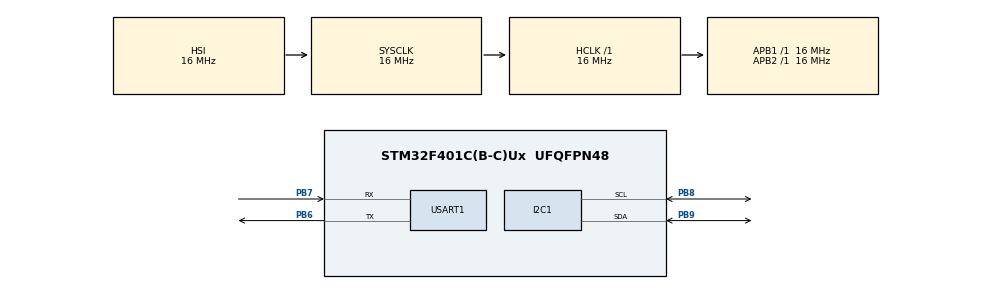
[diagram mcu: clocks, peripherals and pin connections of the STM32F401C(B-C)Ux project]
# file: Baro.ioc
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FREERTOS.Mutexes01=mutex,Dynamic,NULL
FREERTOS.Tasks01=OutputTask,24,128,Output,Default,NULL,Dynamic,NULL,NULL;InputTask,24,128,Input,Default,NULL,Dynamic,NULL,NULL
FREERTOS.configUSE_NEWLIB_REENTRANT=1
Mcu.Family=STM32F4
Mcu.Name=STM32F401C(B-C)Ux
Mcu.Package=UFQFPN48
NVIC.PriorityGroup=NVIC_PRIORITYGROUP_4
PA13.Mode=Serial_Wire
PA13.Signal=SYS_JTMS-SWDIO
PA14.Mode=Serial_Wire
PA14.Signal=SYS_JTCK-SWCLK
PB6.Mode=Asynchronous
PB6.Signal=USART1_TX
PB7.Mode=Asynchronous
PB7.Signal=USART1_RX
PB8.Mode=I2C
PB8.Signal=I2C1_SCL
PB9.Mode=I2C
PB9.Signal=I2C1_SDA
ProjectManager.HeapSize=0x200
ProjectManager.StackSize=0x400
ProjectManager.TargetToolchain=STM32CubeIDE
RCC.AHBFreq_Value=16000000
RCC.APB1Freq_Value=16000000
RCC.APB2Freq_Value=16000000
RCC.CortexFreq_Value=16000000
RCC.HSE_VALUE=25000000
RCC.HSI_VALUE=16000000
RCC.LSE_VALUE=32768
RCC.SYSCLKFreq_VALUE=16000000
RCC.VCOOutputFreq_Value=192000000
USART1.VirtualMode=VM_ASYNC
VP_FREERTOS_VS_CMSIS_V2.Mode=CMSIS_V2
board=custom

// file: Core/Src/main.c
/* USER CODE BEGIN Header */
/**
  ******************************************************************************
  * @file           : main.c
  * @brief          : Main program body
  ******************************************************************************
  * @attention
  *
  * Copyright (c) 2022 STMicroelectronics.
  * All rights reserved.
  *
  * This software is licensed under terms that can be found in the LICENSE file
  * in the root directory of this software component.
  * If no LICENSE file comes with this software, it is provided AS-IS.
  *
  ******************************************************************************
  */
/* USER CODE END Header */
#include "main.h"
#include "cmsis_os.h"

/* USER CODE BEGIN Includes */
#include <stdio.h>
#include <stdlib.h>
#include "baro.h"

/* USER CODE END Includes */

/* USER CODE BEGIN PD */
#define BUFFER_MAX_SIZE 10
/* USER CODE END PD */

/* USER CODE BEGIN PM */
#define countof(a) (sizeof(a)/sizeof(a[0]))
/* USER CODE END PM */

I2C_HandleTypeDef hi2c1;

UART_HandleTypeDef huart1;

/* Definitions for OutputTask */
osThreadId_t OutputTaskHandle;
const osThreadAttr_t OutputTask_attributes = {
  .name = "OutputTask",
  .stack_size = 128 * 4,
  .priority = (osPriority_t) osPriorityNormal,
};
/* Definitions for InputTask */
osThreadId_t InputTaskHandle;
const osThreadAttr_t InputTask_attributes = {
  .name = "InputTask",
  .stack_size = 128 * 4,
  .priority = (osPriority_t) osPriorityNormal,
};
/* Definitions for mutex */
osMutexId_t mutexHandle;
const osMutexAttr_t mutex_attributes = {
  .name = "mutex"
};
/* USER CODE BEGIN PV */

typedef struct
{
    uint32_t tempreture;
    uint32_t pressure;
    struct queue *next;
} queue;

queue *start = NULL, *end = NULL;
int32_t counter = 0;

/* USER CODE END PV */

void SystemClock_Config(void);
static void MX_GPIO_Init(void);
static void MX_I2C1_Init(void);
static void MX_USART1_UART_Init(void);
void Output(void *argument);
void Input(void *argument);

int main(void)
{

  /* MCU Configuration--------------------------------------------------------*/

  /* Reset of all peripherals, Initializes the Flash interface and the Systick. */
  HAL_Init();

  /* Configure the system clock */
  SystemClock_Config();

  /* Initialize all configured peripherals */
  MX_GPIO_Init();
  MX_I2C1_Init();
  MX_USART1_UART_Init();
  /* USER CODE BEGIN 2 */

  if (baro_init() != BARO_OK) {
      while (1) {
    	  HAL_UART_Transmit(&huart1, (uint8_t*)"Error you need to  initialize a baro\n", 16, 1000);
    	  HAL_Delay(3000);
      }
  }

  /* USER CODE END 2 */

  /* Init scheduler */
  osKernelInitialize();
  /* Create the mutex(es) */
  /* creation of mutex */
  mutexHandle = osMutexNew(&mutex_attributes);

  /* Create the thread(s) */
  /* creation of OutputTask */
  OutputTaskHandle = osThreadNew(Output, NULL, &OutputTask_attributes);

  /* creation of InputTask */
  InputTaskHandle = osThreadNew(Input, NULL, &InputTask_attributes);

  /* Start scheduler */
  osKernelStart();

  /* We should never get here as control is now taken by the scheduler */
  /* Infinite loop */
  while (1)
    {

    }
}

void SystemClock_Config(void)
{
  RCC_OscInitTypeDef RCC_OscInitStruct = {0};
  RCC_ClkInitTypeDef RCC_ClkInitStruct = {0};

  /** Configure the main internal regulator output voltage
  */
  __HAL_RCC_PWR_CLK_ENABLE();
  __HAL_PWR_VOLTAGESCALING_CONFIG(PWR_REGULATOR_VOLTAGE_SCALE2);

  /** Initializes the RCC Oscillators according to the specified parameters
  * in the RCC_OscInitTypeDef structure.
  */
  RCC_OscInitStruct.OscillatorType = RCC_OSCILLATORTYPE_HSI;
  RCC_OscInitStruct.HSIState = RCC_HSI_ON;
  RCC_OscInitStruct.HSICalibrationValue = RCC_HSICALIBRATION_DEFAULT;
  RCC_OscInitStruct.PLL.PLLState = RCC_PLL_NONE;
  if (HAL_RCC_OscConfig(&RCC_OscInitStruct) != HAL_OK)
  {
    Error_Handler();
  }

  /** Initializes the CPU, AHB and APB buses clocks
  */
  RCC_ClkInitStruct.ClockType = RCC_CLOCKTYPE_HCLK|RCC_CLOCKTYPE_SYSCLK
                              |RCC_CLOCKTYPE_PCLK1|RCC_CLOCKTYPE_PCLK2;
  RCC_ClkInitStruct.SYSCLKSource = RCC_SYSCLKSOURCE_HSI;
  RCC_ClkInitStruct.AHBCLKDivider = RCC_SYSCLK_DIV1;
  RCC_ClkInitStruct.APB1CLKDivider = RCC_HCLK_DIV1;
  RCC_ClkInitStruct.APB2CLKDivider = RCC_HCLK_DIV1;

  if (HAL_RCC_ClockConfig(&RCC_ClkInitStruct, FLASH_LATENCY_0) != HAL_OK)
  {
    Error_Handler();
  }
}

static void MX_I2C1_Init(void)
{

  hi2c1.Instance = I2C1;
  hi2c1.Init.ClockSpeed = 100000;
  hi2c1.Init.DutyCycle = I2C_DUTYCYCLE_2;
  hi2c1.Init.OwnAddress1 = 0;
  hi2c1.Init.AddressingMode = I2C_ADDRESSINGMODE_7BIT;
  hi2c1.Init.DualAddressMode = I2C_DUALADDRESS_DISABLE;
  hi2c1.Init.OwnAddress2 = 0;
  hi2c1.Init.GeneralCallMode = I2C_GENERALCALL_DISABLE;
  hi2c1.Init.NoStretchMode = I2C_NOSTRETCH_DISABLE;
  if (HAL_I2C_Init(&hi2c1) != HAL_OK)
  {
    Error_Handler();
  }

}

static void MX_USART1_UART_Init(void)
{

  huart1.Instance = USART1;
  huart1.Init.BaudRate = 115200;
  huart1.Init.WordLength = UART_WORDLENGTH_8B;
  huart1.Init.StopBits = UART_STOPBITS_1;
  huart1.Init.Parity = UART_PARITY_NONE;
  huart1.Init.Mode = UART_MODE_TX_RX;
  huart1.Init.HwFlowCtl = UART_HWCONTROL_NONE;
  huart1.Init.OverSampling = UART_OVERSAMPLING_16;
  if (HAL_UART_Init(&huart1) != HAL_OK)
  {
    Error_Handler();
  }

}

static void MX_GPIO_Init(void)
{

  /* GPIO Ports Clock Enable */
  __HAL_RCC_GPIOA_CLK_ENABLE();
  __HAL_RCC_GPIOB_CLK_ENABLE();

}

/* USER CODE BEGIN 4 */

void AddToQueue()
{
    if (counter < BUFFER_MAX_SIZE)
    {
        queue *buf = end;
        end = (end == NULL)  ?  (start = (queue *)malloc(sizeof(queue)))  :  (queue *)(end->next = (struct queue *)malloc(sizeof(queue)));
        if (end)
            counter++;
        else
            end = buf;
    }
}

void DeleteFromQueue()
{
    if (counter > 0 && start != NULL)
    {
        queue *buf = start;
        start = (queue *)start->next;
        free(buf);
        if (--counter == 0)
            end = start = NULL;
    }
}

/* USER CODE END 4 */

void Output(void *argument)
{
  /* USER CODE BEGIN 5 */
  char text[50] = {0};
  /* Infinite loop */
  for(;;)
  {
	while(counter == 0){}

	osMutexAcquire(mutexHandle, osWaitForever);
	snprintf(text, countof(text), "/*%ld.%02ld,%ld.%02ld,%ld*/\n", start->tempreture/100, start->tempreture%100, start->pressure/100, start->pressure%100, counter);
	DeleteFromQueue();
	HAL_UART_Transmit(&huart1, (uint8_t*)text, countof(text), HAL_MAX_DELAY);
	osMutexRelease(mutexHandle);

    osDelay(200);
  }
  /* USER CODE END 5 */
}

void Input(void *argument)
{
  /* USER CODE BEGIN Input */
  //* Infinite loop */
	for(;;)
	  {
		while(counter >= BUFFER_MAX_SIZE){}

		osMutexAcquire(mutexHandle, osWaitForever);
		AddToQueue();
		end->tempreture = baro_read_temp();
		end->pressure = baro_read_press();
		osMutexRelease(mutexHandle);

	    osDelay(200);
	  }
  /* USER CODE END Input */
}

void Error_Handler(void)
{
  __disable_irq();
  while (1)
  {
  }
}
